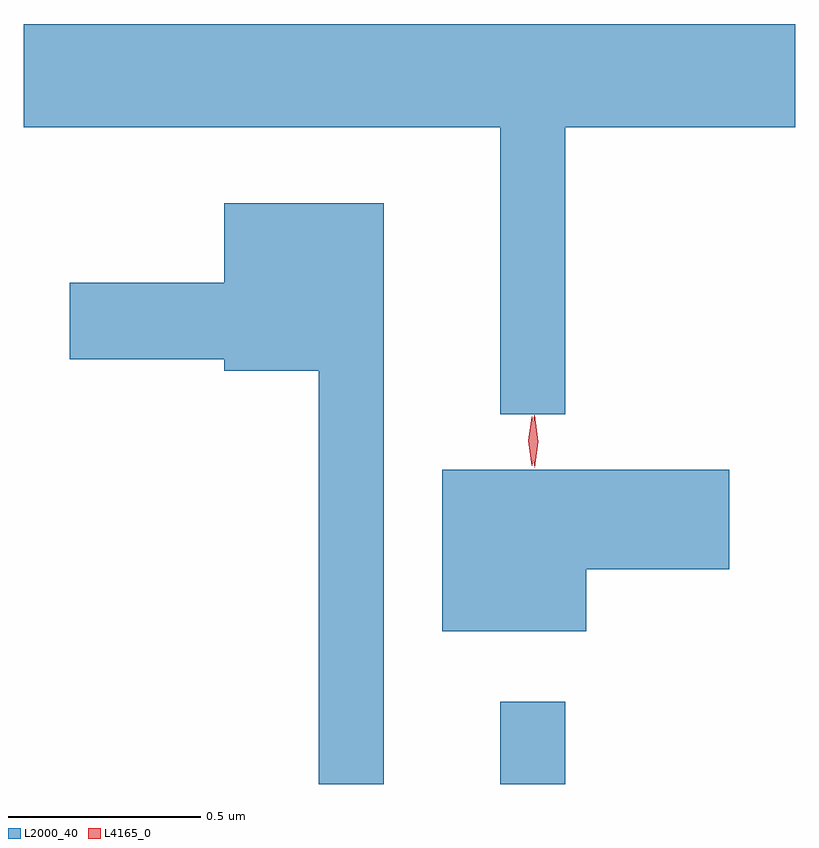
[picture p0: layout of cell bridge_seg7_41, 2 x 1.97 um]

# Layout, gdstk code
import gdstk
lib = gdstk.Library(unit=1e-6, precision=1e-09)
def R(c, l, rs):  # rectangles x0, y0, x1, y1
    for r in rs: c.add(gdstk.rectangle(r[:2], r[2:], *l))
def P(c, l, *ps):  # polygons
    for p in ps: c.add(gdstk.Polygon(p, *l))
L2000_40 = (2000, 40)
L4165_0 = (4165, 0)

bridge_seg7_41 = lib.new_cell('bridge_seg7_41')
R(bridge_seg7_41, L2000_40, [(1528.771,1774.775,1528.939,1774.988)])
P(bridge_seg7_41, L2000_40, [(1528.939,1776.476),(1529.536,1776.476),(1529.536,1776.744),(1527.536,1776.744),(1527.536,1776.476),(1528.771,1776.476),(1528.771,1775.733),(1528.939,1775.733)],
  [(1528.469,1776.279),(1528.056,1776.279),(1528.056,1776.074),(1527.656,1776.074),(1527.656,1775.876),(1528.056,1775.876),(1528.056,1775.846),(1528.301,1775.846),(1528.301,1774.775),(1528.469,1774.775)],
  [(1528.994,1775.331),(1529.364,1775.331),(1529.364,1775.589),(1528.621,1775.589),(1528.621,1775.171),(1528.994,1775.171)])
P(bridge_seg7_41, L4165_0, [(1528.86,1775.594),(1528.85,1775.662),(1528.859,1775.73),(1528.86,1775.73),(1528.86,1775.73),(1528.87,1775.662),(1528.861,1775.594),(1528.861,1775.594)],
  [(1528.853,1775.6),(1528.844,1775.664),(1528.853,1775.726),(1528.854,1775.727),(1528.854,1775.726),(1528.864,1775.664),(1528.854,1775.6),(1528.854,1775.6)])

lib.write_gds('bridge_seg7_41.gds')
